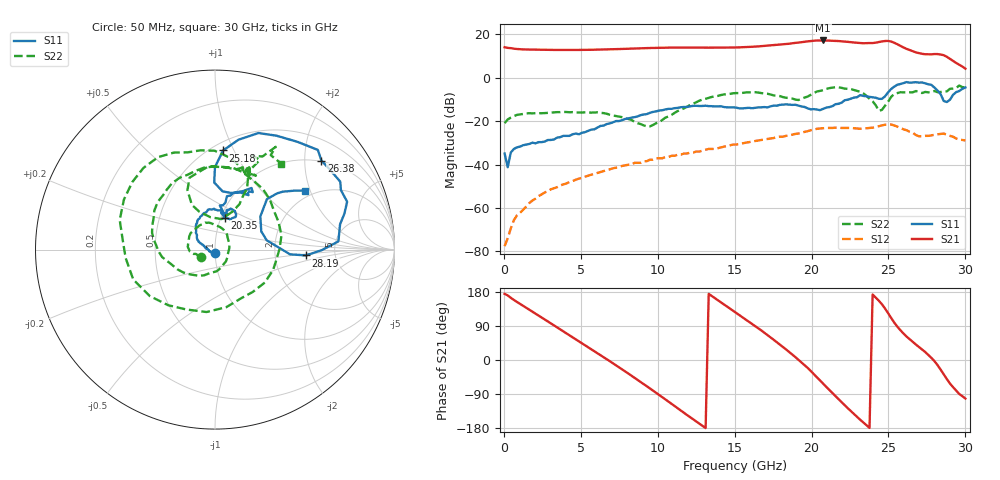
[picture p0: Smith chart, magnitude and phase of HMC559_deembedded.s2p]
!Hittite Microwave Corporation
!20 Alpha Road
!Chelmsford, MA 01824
!Tel: 978-250-3343
!Fax: 978-250-3373
!Device: HMC559, DC-20 GHz, GaAs MMIC PHEMT Wideband Power Amplifier Die
!Misc: Vdd=+10V, 400mA, Room
# MHZ S MA R 50
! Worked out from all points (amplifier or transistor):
!   150 points, 50 MHz to 30 GHz, reference 50 ohm
!   highest |S21| = 17.2 dB at 20.75 GHz (marker M1)
!   |S21| within 3 dB of that: 15.91 GHz to 25.92 GHz (10.01 GHz wide, 47.9 % of centre)
!   unconditionally stable (mu >= 1): start of sweep to 20.56 GHz; 23.9 GHz to 25.13 GHz; 26.64 GHz to end of sweep
!   at 5.075 GHz: K = 22.00, MAG = 13.0 dB, |S12| = -46.0 dB
!   at 15.13 GHz: K = 2.79, MAG = 15.1 dB, |S12| = -30.8 dB
!   at 30 GHz: K = 3.69, MAG = 7.9 dB, |S12| = -28.9 dB
!   S11 on the Smith chart (normalised r, x): 50 MHz: 1.00, -0.04; 20.35 GHz: 1.05, +0.38; 25.18 GHz: 0.57, +0.91; 26.38 GHz: 0.98, +2.41; 28.19 GHz: 3.04, -0.27; 30 GHz: 1.80, +1.84
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50  0.018 -94.2  5.069 174.5  0.000132 -178.6  0.09 -151.8
2663.087  0.034 -172.8  4.423 106.9  0.002285 172.1  0.154 161.6
5075.168  0.054 168.6  4.399 44.4  0.005026 102.8  0.159 128.2
7487.248  0.101 154.5  4.607 -19.1  0.008815 44.2  0.128 76.8
10100.34  0.176 126.5  4.909 -92.5  0.014 -19.2  0.095 -60.4
12713.42  0.224 95.4  4.962 -168.2  0.02 -82.7  0.298 -172.1
15125.5  0.205 74.6  5.016 123.8  0.029 -145.8  0.446 116.1
16331.54  0.203 70.6  5.245 89.5  0.035 -178.6  0.466 77.4
17537.58  0.229 73.7  5.703 53.4  0.041 148.3  0.393 33.2
18944.63  0.24 62.4  6.393 7.8  0.051 109.2  0.316 -48.3
20150.67  0.19 62.9  7.158 -37.5  0.064 71.0  0.446 -144.5
20351.68  0.186 72.4  7.247 -45.8  0.067 63.0  0.485 -160.0
20753.69  0.192 74.7  7.267 -62.5  0.069 47.2  0.519 173.2
21758.72  0.252 79.6  7.04 -103.4  0.071 9.8  0.605 121.7
23165.77  0.399 59.4  6.305 -157.8  0.067 -38.7  0.474 71.1
24572.82  0.327 82.6  6.897 147.2  0.08 -85.8  0.182 97.9
25175.84  0.554 85.4  6.857 110.9  0.084 -118.8  0.365 114.9
25778.86  0.721 61.7  5.457 78.5  0.07 -149.0  0.466 94.1
26381.88  0.773 39.9  4.358 54.7  0.057 -170.9  0.461 79.5
28190.94  0.508 -3.7  3.525 -13.6  0.05 140.4  0.466 65.0
28793.96  0.277 21.5  3.052 -50.2  0.049 110.8  0.488 66.1
30000  0.599 33.2  1.625 -101.7  0.036 66.5  0.605 52.4
